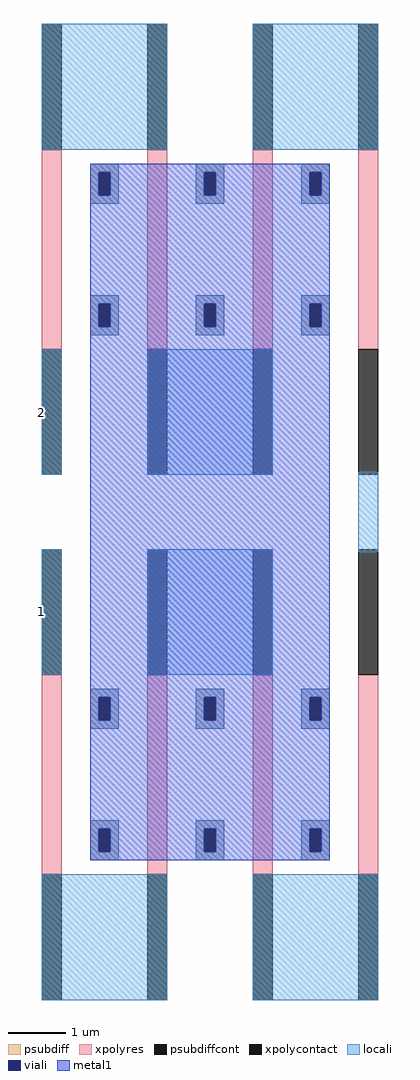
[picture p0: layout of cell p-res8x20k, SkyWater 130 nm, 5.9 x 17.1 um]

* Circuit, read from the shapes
.subckt p-res8x20k 1 2 GND
XR1 1 p-res20k_7/1 GND sky130_fd_pr__res_xhigh_po w=0.35 l=3.5
XR2 p-res20k_0/1 2 GND sky130_fd_pr__res_xhigh_po w=0.35 l=3.5
XR3 p-res20k_5/1 p-res20k_7/1 GND sky130_fd_pr__res_xhigh_po w=0.35 l=3.5
XR4 p-res20k_0/1 p-res20k_1/1 GND sky130_fd_pr__res_xhigh_po w=0.35 l=3.5
XR5 p-res20k_5/1 p-res20k_4/2 GND sky130_fd_pr__res_xhigh_po w=0.35 l=3.5
XR6 p-res20k_2/1 p-res20k_1/1 GND sky130_fd_pr__res_xhigh_po w=0.35 l=3.5
XR7 p-res20k_4/1 p-res20k_4/2 GND sky130_fd_pr__res_xhigh_po w=0.35 l=3.5
XR8 p-res20k_2/1 p-res20k_4/1 GND sky130_fd_pr__res_xhigh_po w=0.35 l=3.5
.ends

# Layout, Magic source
magic
tech sky130A
<< psubdiff >>
rect 270 535 320 550
rect 270 495 285 535
rect 305 495 320 535
rect 270 480 320 495
rect 455 535 505 550
rect 455 495 470 535
rect 490 495 505 535
rect 455 480 505 495
rect 270 -385 320 -370
rect 270 -425 285 -385
rect 305 -425 320 -385
rect 270 -440 320 -425
rect 455 -385 505 -370
rect 455 -425 470 -385
rect 490 -425 505 -385
rect 455 -440 505 -425
<< psubdiffcont >>
rect 100 495 120 535
rect 285 495 305 535
rect 470 495 490 535
rect 285 -425 305 -385
rect 470 -425 490 -385
<< locali >>
rect 0 575 220 795
rect 370 575 590 795
rect 270 535 320 550
rect 270 495 285 535
rect 305 495 320 535
rect 270 480 320 495
rect 455 535 505 550
rect 455 495 470 535
rect 490 495 505 535
rect 455 480 505 495
rect 0 5 35 225
rect 185 5 405 225
rect 0 -345 35 -125
rect 185 -345 405 -125
rect 555 -130 590 10
rect 270 -385 320 -370
rect 270 -425 285 -385
rect 305 -425 320 -385
rect 270 -440 320 -425
rect 455 -385 505 -370
rect 455 -425 470 -385
rect 490 -425 505 -385
rect 455 -440 505 -425
rect 0 -915 220 -695
rect 370 -915 590 -695
<< viali >>
rect 100 495 120 535
rect 285 495 305 535
rect 470 495 490 535
rect 100 265 120 305
rect 285 265 305 305
rect 470 265 490 305
rect 100 -425 120 -385
rect 285 -425 305 -385
rect 470 -425 490 -385
rect 100 -655 120 -615
rect 285 -655 305 -615
rect 470 -655 490 -615
<< metal1 >>
rect 85 535 505 550
rect 85 495 100 535
rect 120 495 285 535
rect 305 495 470 535
rect 490 495 505 535
rect 85 305 505 495
rect 85 265 100 305
rect 120 265 285 305
rect 305 265 470 305
rect 490 265 505 305
rect 85 -385 505 265
rect 85 -425 100 -385
rect 120 -425 285 -385
rect 305 -425 470 -385
rect 490 -425 505 -385
rect 85 -615 505 -425
rect 85 -655 100 -615
rect 120 -655 285 -615
rect 305 -655 470 -615
rect 490 -655 505 -615
rect 85 -670 505 -655
use p-res20k  p-res20k_1
transform 1 0 185 0 -1 575
box -100 -220 35 570
use p-res20k  p-res20k_2
transform 1 0 370 0 1 225
box -100 -220 35 570
use p-res20k  p-res20k_0
transform -1 0 35 0 1 225
box -100 -220 35 570
use p-res20k  p-res20k_3
transform 1 0 555 0 1 225
box -100 -220 35 570
use p-res20k  p-res20k_7
transform -1 0 35 0 -1 -345
box -100 -220 35 570
use p-res20k  p-res20k_6
transform 1 0 185 0 1 -695
box -100 -220 35 570
use p-res20k  p-res20k_5
transform 1 0 370 0 1 -695
box -100 -220 35 570
use p-res20k  p-res20k_4
transform 1 0 555 0 1 -695
box -100 -220 35 570
<< labels >>
rlabel locali 0 -235 0 -235 7 1
rlabel locali 0 115 0 115 7 2
<< end >>

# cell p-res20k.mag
magic
tech sky130A
<< psubdiff >>
rect -100 80 -50 95
rect -100 40 -85 80
rect -65 40 -50 80
rect -100 25 -50 40
<< psubdiffcont >>
rect -85 40 -65 80
<< xpolycontact >>
rect 0 350 35 570
rect 0 -220 35 0
<< xpolyres >>
rect 0 0 35 350
<< locali >>
rect -100 80 -50 95
rect -100 40 -85 80
rect -65 40 -50 80
rect -100 25 -50 40
<< labels >>
rlabel locali -100 55 -100 55 7 GND
rlabel xpolycontact 0 460 0 460 7 1
rlabel xpolycontact 0 -110 0 -110 7 2
<< end >>
